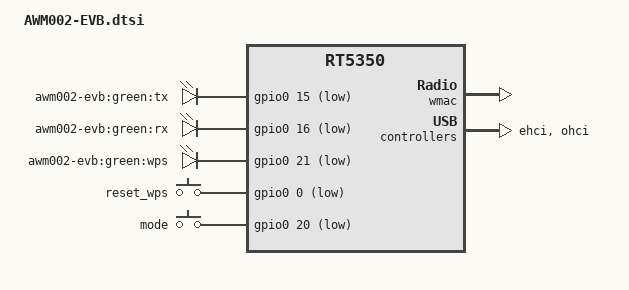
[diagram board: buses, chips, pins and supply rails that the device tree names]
#include "rt5350.dtsi"

#include <dt-bindings/gpio/gpio.h>
#include <dt-bindings/input/input.h>

/ {
	compatible = "asiarf,awm002-evb", "ralink,rt5350-soc";

	gpio-leds {
		compatible = "gpio-leds";

		tx {
			label = "awm002-evb:green:tx";
			gpios = <&gpio0 15 GPIO_ACTIVE_LOW>;
		};

		rx {
			label = "awm002-evb:green:rx";
			gpios = <&gpio0 16 GPIO_ACTIVE_LOW>;
		};

		wps {
			label = "awm002-evb:green:wps";
			gpios = <&gpio0 21 GPIO_ACTIVE_LOW>;
		};
	};

	gpio-keys-polled {
		compatible = "gpio-keys-polled";
		#address-cells = <1>;
		#size-cells = <0>;
		poll-interval = <20>;

		reset_wps {
			label = "reset_wps";
			gpios = <&gpio0 0 GPIO_ACTIVE_LOW>;
			linux,code = <KEY_RESTART>;
		};

		mode {
			label = "mode";
			gpios = <&gpio0 20 GPIO_ACTIVE_LOW>;
			linux,code = <BTN_0>;
		};
	};
};

&ethernet {
	mtd-mac-address = <&factory 0x28>;
};

&wmac {
	ralink,mtd-eeprom = <&factory 0>;
};

&pinctrl {
	state_default: pinctrl0 {
		gpio {
			ralink,group = "i2c", "jtag";
			ralink,function = "gpio";
		};
	};
};

&esw {
	mediatek,portmap = <0x3f>;
};

&ehci {
	status = "okay";
};

&ohci {
	status = "okay";
};
